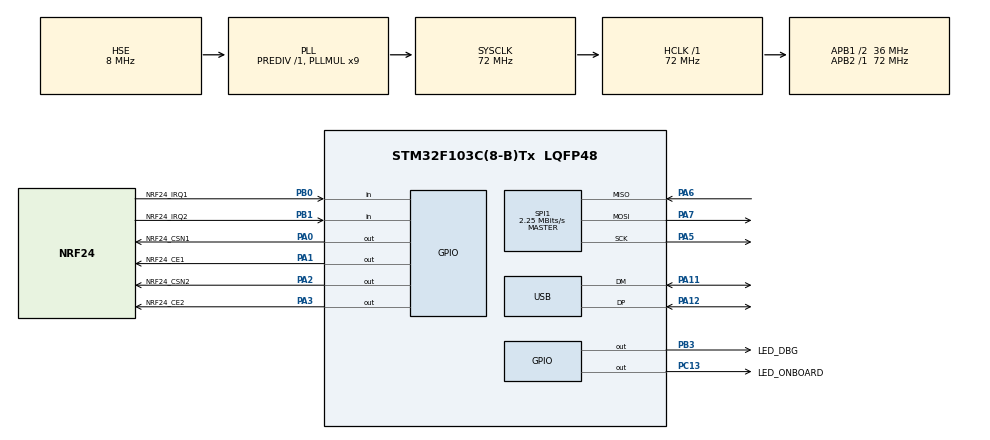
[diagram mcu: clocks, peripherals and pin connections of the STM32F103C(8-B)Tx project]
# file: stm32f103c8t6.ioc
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Mcu.Family=STM32F1
Mcu.Name=STM32F103C(8-B)Tx
Mcu.Package=LQFP48
NVIC.PriorityGroup=NVIC_PRIORITYGROUP_4
NVIC.SPI1_IRQn=true\:0\:0\:false\:false\:true
NVIC.USB_LP_CAN1_RX0_IRQn=true\:0\:0\:false\:false\:true
PA0-WKUP.GPIO_Label=NRF24_CSN1
PA0-WKUP.Signal=GPIO_Output
PA1.GPIO_Label=NRF24_CE1
PA1.GPIO_Speed=GPIO_SPEED_FREQ_HIGH
PA1.Signal=GPIO_Output
PA11.Mode=Device
PA11.Signal=USB_DM
PA12.Mode=Device
PA12.Signal=USB_DP
PA13.Mode=Serial_Wire
PA13.Signal=SYS_JTMS-SWDIO
PA14.Mode=Serial_Wire
PA14.Signal=SYS_JTCK-SWCLK
PA2.GPIO_Label=NRF24_CSN2
PA2.Signal=GPIO_Output
PA3.GPIO_Label=NRF24_CE2
PA3.Signal=GPIO_Output
PA5.Mode=Full_Duplex_Master
PA5.Signal=SPI1_SCK
PA6.Mode=Full_Duplex_Master
PA6.Signal=SPI1_MISO
PA7.Mode=Full_Duplex_Master
PA7.Signal=SPI1_MOSI
PB0.GPIO_Label=NRF24_IRQ1
PB0.GPIO_PuPd=GPIO_PULLUP
PB0.Signal=GPIO_Input
PB1.GPIO_Label=NRF24_IRQ2
PB1.GPIO_PuPd=GPIO_PULLUP
PB1.Signal=GPIO_Input
PB3.GPIO_Label=LED_DBG
PB3.GPIO_Speed=GPIO_SPEED_FREQ_HIGH
PB3.Signal=GPIO_Output
PC13-TAMPER-RTC.GPIO_Label=LED_ONBOARD
PC13-TAMPER-RTC.GPIO_Speed=GPIO_SPEED_FREQ_LOW
PC13-TAMPER-RTC.Signal=GPIO_Output
PD0-OSC_IN.Mode=HSE-External-Oscillator
PD0-OSC_IN.Signal=RCC_OSC_IN
PD1-OSC_OUT.Mode=HSE-External-Oscillator
PD1-OSC_OUT.Signal=RCC_OSC_OUT
ProjectManager.HeapSize=0x200
ProjectManager.StackSize=0x400
ProjectManager.TargetToolchain=SW4STM32
RCC.ADCPresc=RCC_ADCPCLK2_DIV6
RCC.AHBFreq_Value=72000000
RCC.APB1CLKDivider=RCC_HCLK_DIV2
RCC.APB1Freq_Value=36000000
RCC.APB1TimFreq_Value=72000000
RCC.APB2Freq_Value=72000000
RCC.APB2TimFreq_Value=72000000
RCC.HCLKFreq_Value=72000000
RCC.HSIState=RCC_HSI_ON
RCC.PLLMUL=RCC_PLL_MUL9
RCC.PLLSourceVirtual=RCC_PLLSOURCE_HSE
RCC.SYSCLKFreq_VALUE=72000000
RCC.SYSCLKSource=RCC_SYSCLKSOURCE_PLLCLK
RCC.USBFreq_Value=48000000
RCC.USBPrescaler=RCC_USBCLKSOURCE_PLL_DIV1_5
SPI1.BaudRatePrescaler=SPI_BAUDRATEPRESCALER_32
SPI1.CalculateBaudRate=2.25 MBits/s
SPI1.Mode=SPI_MODE_MASTER
USB_DEVICE.CLASS_NAME_FS=CDC
USB_DEVICE.USBD_HandleTypeDef=hUsbDeviceFS
USB_DEVICE.VirtualMode=Cdc
USB_DEVICE.VirtualModeFS=Cdc_FS
VP_TIM2_VS_ClockSourceINT.Mode=Internal
VP_USB_DEVICE_VS_USB_DEVICE_CDC_FS.Mode=CDC_FS
board=stm32f103c8t6

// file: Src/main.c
/**
  ******************************************************************************
  * File Name          : main.c
  * Description        : Main program body
  ******************************************************************************
  *
  * COPYRIGHT(c) 2016 STMicroelectronics
  *
  * Redistribution and use in source and binary forms, with or without modification,
  * are permitted provided that the following conditions are met:
  *   1. Redistributions of source code must retain the above copyright notice,
  *      this list of conditions and the following disclaimer.
  *   2. Redistributions in binary form must reproduce the above copyright notice,
  *      this list of conditions and the following disclaimer in the documentation
  *      and/or other materials provided with the distribution.
  *   3. Neither the name of STMicroelectronics nor the names of its contributors
  *      may be used to endorse or promote products derived from this software
  *      without specific prior written permission.
  *
  * THIS SOFTWARE IS PROVIDED BY THE COPYRIGHT HOLDERS AND CONTRIBUTORS "AS IS"
  * AND ANY EXPRESS OR IMPLIED WARRANTIES, INCLUDING, BUT NOT LIMITED TO, THE
  * IMPLIED WARRANTIES OF MERCHANTABILITY AND FITNESS FOR A PARTICULAR PURPOSE ARE
  * DISCLAIMED. IN NO EVENT SHALL THE COPYRIGHT HOLDER OR CONTRIBUTORS BE LIABLE
  * FOR ANY DIRECT, INDIRECT, INCIDENTAL, SPECIAL, EXEMPLARY, OR CONSEQUENTIAL
  * DAMAGES (INCLUDING, BUT NOT LIMITED TO, PROCUREMENT OF SUBSTITUTE GOODS OR
  * SERVICES; LOSS OF USE, DATA, OR PROFITS; OR BUSINESS INTERRUPTION) HOWEVER
  * CAUSED AND ON ANY THEORY OF LIABILITY, WHETHER IN CONTRACT, STRICT LIABILITY,
  * OR TORT (INCLUDING NEGLIGENCE OR OTHERWISE) ARISING IN ANY WAY OUT OF THE USE
  * OF THIS SOFTWARE, EVEN IF ADVISED OF THE POSSIBILITY OF SUCH DAMAGE.
  *
  ******************************************************************************
  */
#include "stm32f1xx_hal.h"
#include "usb_device.h"

/* USER CODE BEGIN Includes */
#include <stdbool.h>
#include "sensor.h"
#include "sensor_hub.h"
#include "se8r01.h"
#include "infrared.h"
#include "usbd_cdc_if.h"

#define USE_OLD_MAPPING 1
#include "common.h"
#include "mocap_device.h"

// TODO: cleanup when done debugging
/* USER CODE END Includes */

SPI_HandleTypeDef hspi1;

TIM_HandleTypeDef htim2;

/* USER CODE BEGIN PV */
/* Private variables ---------------------------------------------------------*/
const bool _debug = true;
const TIM_HandleTypeDef* phtim_delay = &htim2;

extern GPIO_TypeDef * GPIO_LED_PORT;
extern uint16_t GPIO_LED_PIN;

extern RadioMessage tx_message;
extern RadioDevInfo radiodevinfo;
extern SensorData sensordata;
extern BeamerData beamerdata;
extern IMUData imudata;
/// ===========================================

/* USER CODE END PV */

void SystemClock_Config(void);
static void MX_GPIO_Init(void);
static void MX_SPI1_Init(void);
static void MX_TIM2_Init(void);

/* USER CODE BEGIN PFP */
/* Private function prototypes -----------------------------------------------*/
/* USER CODE END PFP */

/* USER CODE BEGIN 0 */

// USB buffer
extern uint8_t UserRxBufferFS[APP_RX_DATA_SIZE];

extern NRF_Module default_module;
extern NRF_Module data_module;

const char mode = 'r'; // 't'
/* USER CODE END 0 */

int main(void)
{

  /* MCU Configuration----------------------------------------------------------*/

  /* Reset of all peripherals, Initializes the Flash interface and the Systick. */
  HAL_Init();

  /* Configure the system clock */
  SystemClock_Config();

  /* Initialize all configured peripherals */
  MX_GPIO_Init();
  MX_SPI1_Init();
  MX_USB_DEVICE_Init();
  MX_TIM2_Init();

  /* USER CODE BEGIN 2 */
    //TODO: setting the timer. merge with TIM_Init
    HAL_TIM_Base_Start(&htim2);

  /* USER CODE END 2 */

  /* Infinite loop */
  /* USER CODE BEGIN WHILE */

    setup(&default_module);

    //wait for usb device is configured
    while(!is_usb_configured())
    {
        //NOP
    };

    // sigal that USB is OK ==============
    HAL_GPIO_TogglePin (GPIOC,GPIO_PIN_13);
    HAL_Delay (300);
    HAL_GPIO_TogglePin (GPIOC,GPIO_PIN_13);
    HAL_Delay (300);
    HAL_GPIO_TogglePin (GPIOC,GPIO_PIN_13);
    HAL_Delay (300);
    HAL_GPIO_TogglePin (GPIOC,GPIO_PIN_13);
    HAL_Delay (300);
    //====================================

    register_usb_device();

    bool test_usb = true;

    const char* test_str = "Hello, I'm a usbdevice";
    uint8_t buf[32] = {0};
    memcpy(&buf[0], test_str, strlen(test_str));

    while (1)
    {

        if(test_usb){

            //=================== prepare message for sending
            // Determine source of packet
            radio_tx_set_message_header(WhoAmI_UsbDevice, Dest_UsbDevice, Typ_SensorData);

            IMUData imudata;
            imudata.ax = 1;
            imudata.ay = 1;
            imudata.az = 1;
            imudata.gx = 2;
            imudata.gy = 2;
            imudata.gz = 2;
            imudata.mx = 3;
            imudata.my = 3;
            imudata.mz = 3;

            sensordata.sensor_id = 12;
            set_sensordata_type (&sensordata, SDT_IMUData);
            set_sensor_data_imu (&sensordata, &imudata);

            radio_tx_set_sensordata(&sensordata);
            //=====================

            HAL_Delay (1000);
            uint8_t result = CDC_Transmit_FS((uint8_t *)&tx_message, sizeof(RadioMessage));
            if(result == USBD_OK){
                HAL_GPIO_TogglePin (GPIOC,GPIO_PIN_13);
            }

        }

        //listening...
        RXX(&default_module);
        RXX(&data_module);

  /* USER CODE END WHILE */

    }

}

/** System Clock Configuration
*/
void SystemClock_Config(void)
{

  RCC_OscInitTypeDef RCC_OscInitStruct;
  RCC_ClkInitTypeDef RCC_ClkInitStruct;
  RCC_PeriphCLKInitTypeDef PeriphClkInit;

  RCC_OscInitStruct.OscillatorType = RCC_OSCILLATORTYPE_HSE;
  RCC_OscInitStruct.HSEState = RCC_HSE_ON;
  RCC_OscInitStruct.HSEPredivValue = RCC_HSE_PREDIV_DIV1;
  RCC_OscInitStruct.PLL.PLLState = RCC_PLL_ON;
  RCC_OscInitStruct.PLL.PLLSource = RCC_PLLSOURCE_HSE;
  RCC_OscInitStruct.PLL.PLLMUL = RCC_PLL_MUL9;
  HAL_RCC_OscConfig(&RCC_OscInitStruct);

  RCC_ClkInitStruct.ClockType = RCC_CLOCKTYPE_HCLK|RCC_CLOCKTYPE_SYSCLK
                              |RCC_CLOCKTYPE_PCLK1|RCC_CLOCKTYPE_PCLK2;
  RCC_ClkInitStruct.SYSCLKSource = RCC_SYSCLKSOURCE_PLLCLK;
  RCC_ClkInitStruct.AHBCLKDivider = RCC_SYSCLK_DIV1;
  RCC_ClkInitStruct.APB1CLKDivider = RCC_HCLK_DIV2;
  RCC_ClkInitStruct.APB2CLKDivider = RCC_HCLK_DIV1;
  HAL_RCC_ClockConfig(&RCC_ClkInitStruct, FLASH_LATENCY_2);

  PeriphClkInit.PeriphClockSelection = RCC_PERIPHCLK_USB;
  PeriphClkInit.UsbClockSelection = RCC_USBCLKSOURCE_PLL_DIV1_5;
  HAL_RCCEx_PeriphCLKConfig(&PeriphClkInit);

  HAL_SYSTICK_Config(HAL_RCC_GetHCLKFreq()/1000);

  HAL_SYSTICK_CLKSourceConfig(SYSTICK_CLKSOURCE_HCLK);

  /* SysTick_IRQn interrupt configuration */
  HAL_NVIC_SetPriority(SysTick_IRQn, 0, 0);
}

/* SPI1 init function */
void MX_SPI1_Init(void)
{

  hspi1.Instance = SPI1;
  hspi1.Init.Mode = SPI_MODE_MASTER;
  hspi1.Init.Direction = SPI_DIRECTION_2LINES;
  hspi1.Init.DataSize = SPI_DATASIZE_8BIT;
  hspi1.Init.CLKPolarity = SPI_POLARITY_LOW;
  hspi1.Init.CLKPhase = SPI_PHASE_1EDGE;
  hspi1.Init.NSS = SPI_NSS_SOFT;
  hspi1.Init.BaudRatePrescaler = SPI_BAUDRATEPRESCALER_32;
  hspi1.Init.FirstBit = SPI_FIRSTBIT_MSB;
  hspi1.Init.TIMode = SPI_TIMODE_DISABLE;
  hspi1.Init.CRCCalculation = SPI_CRCCALCULATION_DISABLE;
  hspi1.Init.CRCPolynomial = 10;
  HAL_SPI_Init(&hspi1);

}

/* TIM2 init function */
void MX_TIM2_Init(void)
{

  TIM_ClockConfigTypeDef sClockSourceConfig;
  TIM_MasterConfigTypeDef sMasterConfig;

  htim2.Instance = TIM2;
  htim2.Init.Prescaler = 0;
  htim2.Init.CounterMode = TIM_COUNTERMODE_UP;
  htim2.Init.Period = 0;
  htim2.Init.ClockDivision = TIM_CLOCKDIVISION_DIV1;
  HAL_TIM_Base_Init(&htim2);

  sClockSourceConfig.ClockSource = TIM_CLOCKSOURCE_INTERNAL;
  HAL_TIM_ConfigClockSource(&htim2, &sClockSourceConfig);

  sMasterConfig.MasterOutputTrigger = TIM_TRGO_RESET;
  sMasterConfig.MasterSlaveMode = TIM_MASTERSLAVEMODE_DISABLE;
  HAL_TIMEx_MasterConfigSynchronization(&htim2, &sMasterConfig);

}

/** Configure pins as
        * Analog
        * Input
        * Output
        * EVENT_OUT
        * EXTI
*/
void MX_GPIO_Init(void)
{

  GPIO_InitTypeDef GPIO_InitStruct;

  /* GPIO Ports Clock Enable */
  __HAL_RCC_GPIOC_CLK_ENABLE();
  __HAL_RCC_GPIOD_CLK_ENABLE();
  __HAL_RCC_GPIOA_CLK_ENABLE();
  __HAL_RCC_GPIOB_CLK_ENABLE();

  /*Configure GPIO pin Output Level */
  HAL_GPIO_WritePin(LED_ONBOARD_GPIO_Port, LED_ONBOARD_Pin, GPIO_PIN_RESET);

  /*Configure GPIO pin Output Level */
  HAL_GPIO_WritePin(GPIOA, NRF24_CSN1_Pin|NRF24_CE1_Pin|NRF24_CSN2_Pin|NRF24_CE2_Pin, GPIO_PIN_RESET);

  /*Configure GPIO pin Output Level */
  HAL_GPIO_WritePin(LED_DBG_GPIO_Port, LED_DBG_Pin, GPIO_PIN_RESET);

  /*Configure GPIO pin : LED_ONBOARD_Pin */
  GPIO_InitStruct.Pin = LED_ONBOARD_Pin;
  GPIO_InitStruct.Mode = GPIO_MODE_OUTPUT_PP;
  GPIO_InitStruct.Speed = GPIO_SPEED_FREQ_LOW;
  HAL_GPIO_Init(LED_ONBOARD_GPIO_Port, &GPIO_InitStruct);

  /*Configure GPIO pins : NRF24_CSN1_Pin NRF24_CE1_Pin NRF24_CSN2_Pin NRF24_CE2_Pin */
  GPIO_InitStruct.Pin = NRF24_CSN1_Pin|NRF24_CE1_Pin|NRF24_CSN2_Pin|NRF24_CE2_Pin;
  GPIO_InitStruct.Mode = GPIO_MODE_OUTPUT_PP;
  GPIO_InitStruct.Speed = GPIO_SPEED_FREQ_LOW;
  HAL_GPIO_Init(GPIOA, &GPIO_InitStruct);

  /*Configure GPIO pins : NRF24_IRQ1_Pin NRF24_IRQ2_Pin */
  GPIO_InitStruct.Pin = NRF24_IRQ1_Pin|NRF24_IRQ2_Pin;
  GPIO_InitStruct.Mode = GPIO_MODE_INPUT;
  GPIO_InitStruct.Pull = GPIO_PULLUP;
  HAL_GPIO_Init(GPIOB, &GPIO_InitStruct);

  /*Configure GPIO pin : LED_DBG_Pin */
  GPIO_InitStruct.Pin = LED_DBG_Pin;
  GPIO_InitStruct.Mode = GPIO_MODE_OUTPUT_PP;
  GPIO_InitStruct.Speed = GPIO_SPEED_FREQ_HIGH;
  HAL_GPIO_Init(LED_DBG_GPIO_Port, &GPIO_InitStruct);

}

/************************ (C) COPYRIGHT STMicroelectronics *****END OF FILE****/
